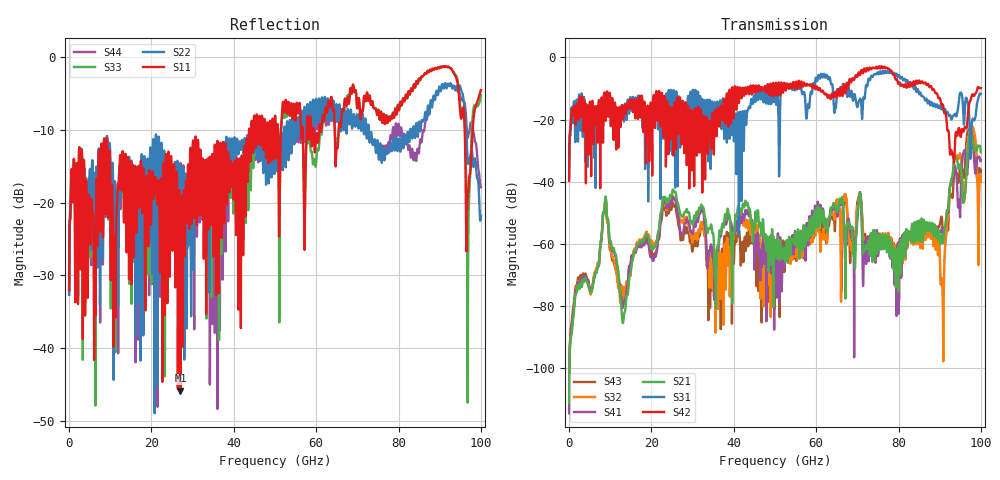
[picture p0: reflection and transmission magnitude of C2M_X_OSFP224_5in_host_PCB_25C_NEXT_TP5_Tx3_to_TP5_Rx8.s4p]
# GHz S RI R 45
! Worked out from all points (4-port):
!   4000 points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, 25 MHz to 100 GHz, reference 45 ohm
!   strongest paths, dB at 25 MHz, 25.02 GHz, 50.02 GHz, 75.03 GHz, 100 GHz:
!     S42: -39.7, -16.2, -10.9, -3.4, -9.9
!     S31: -38.9, -14.8, -10.6, -5.1, -11.7
!     S21: -111.2, -43.5, -60.3, -57.1, -30.5
!     S41: -114.5, -45.7, -58.7, -63.9, -33.0
!     S32: -113.7, -45.3, -62.8, -57.0, -40.0
!     S43: -105.7, -47.5, -60.8, -63.1, -36.2
!   lowest |S11| = -45.8 dB at 27.05 GHz (marker M1), VSWR 1.01, Z = 45.2 - j0.428 ohm
!   |S11| at or under -10 dB: start of sweep to 43.71 GHz; 59.39 GHz to 60.74 GHz (1.355 GHz wide, 2.26 % of centre); 96.08 GHz to 98 GHz (1.928 GHz wide, 1.99 % of centre) (the widest 3 of 21)
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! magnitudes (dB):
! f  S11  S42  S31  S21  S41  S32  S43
! 25 MHz  -32.0  -39.7  -38.9  -111.2  -114.5  -113.7  -105.7
! 8.65 GHz  -11.7  -11.6  -11.5  -48.4  -48.5  -48.7  -48.7
! 13.18 GHz  -15.0  -19.3  -17.3  -84.9  -79.9  -75.7  -75.1
! 27.05 GHz  -45.8  -13.9  -21.4  -50.5  -56.4  -52.7  -58.4
! 90.6 GHz  -1.4  -15.1  -16.0  -58.5  -55.1  -71.8  -52.7
! 93.85 GHz  -2.7  -24.7  -18.4  -32.0  -35.7  -31.6  -36.4
! 100 GHz  -4.6  -9.9  -11.7  -30.5  -33.0  -40.0  -36.2
